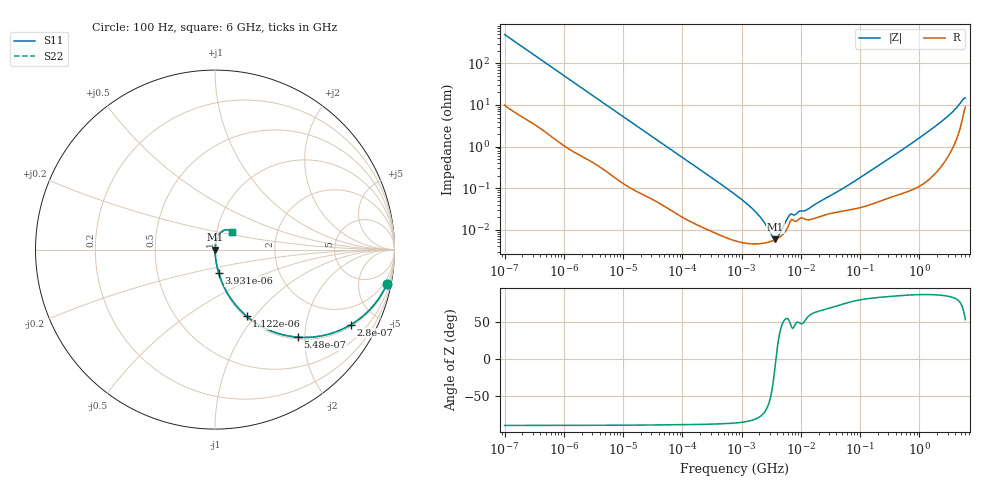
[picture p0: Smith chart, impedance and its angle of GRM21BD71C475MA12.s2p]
!Murata Part Number: GRM21BD71C475MA12
!These Parameters are Measured in Series Mode Connection
!Data Generated on Mar 30, 2021
!  o--ll--o
!Port1  Port2
!  o------o
!Operation Temp=25[degC], DC Bias Voltage=0[V]
!Freq. Start=100[Hz] Stop=6[GHz] 401[Steps]
# Hz S RI R 50
!Freq.(Hz) S11(Real) S11(Imag) S21(Real) S21(Imag) S12(Real) S12(Imag) S22(Real) S22(Imag)
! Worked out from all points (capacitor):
!   401 points, 100 Hz to 6 GHz, reference 50 ohm
!   read as one part in series: C = 3.21 uF near 109 Hz
!   lowest |Z| = 5.86 mohm at 3.712 MHz (marker M1)
!   series resonance near 3.803 MHz, so ESL is about 550 pH
!   S11 on the Smith chart (normalised r, x): 100 Hz: 1.20, -9.89; 280 Hz: 1.08, -3.57; 548 Hz: 1.04, -1.84; 1.122 kHz: 1.02, -0.91; 3.931 kHz: 1.01, -0.26; 6 GHz: 1.18, +0.23
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100  0.9572 -0.1928  0.0428 0.1928  0.0428 0.1928  0.9572 -0.1928
164  0.8975 -0.2935  0.1025 0.2935  0.1025 0.2935  0.8975 -0.2935
280  0.7568 -0.4184  0.2432 0.4184  0.2432 0.4184  0.7568 -0.4184
548  0.4605 -0.4878  0.5395 0.4878  0.5395 0.4878  0.4605 -0.4878
1122  0.1762 -0.3708  0.8238 0.3708  0.8238 0.3708  0.1762 -0.3708
2008  0.0661 -0.2373  0.9339 0.2373  0.9339 0.2373  0.0661 -0.2373
3931  0.0203 -0.129  0.9797 0.129  0.9797 0.129  0.0203 -0.129
10527  0.00373 -0.0498  0.9963 0.0498  0.9963 0.0498  0.00373 -0.0498
40335  0.000619 -0.0133  0.9994 0.0133  0.9994 0.0133  0.000619 -0.0133
774597  5.49e-05 -0.000709  0.9999 0.000709  0.9999 0.000709  5.49e-05 -0.000709
1658239  4.59e-05 -0.000282  1 0.000282  1 0.000282  4.59e-05 -0.000282
2837864  5.05e-05 -9.09e-05  0.9999 9.09e-05  0.9999 9.09e-05  5.05e-05 -9.09e-05
3712478  5.81e-05 -7.4e-06  0.9999 7.4e-06  0.9999 7.4e-06  5.81e-05 -7.4e-06
4643984  7.07e-05 6.37e-05  0.9999 -6.37e-05  0.9999 -6.37e-05  7.07e-05 6.37e-05
6644369  0.00016 0.000174  0.9998 -0.000174  0.9998 -0.000174  0.00016 0.000174
1.189169e7  0.000179 0.000228  0.9998 -0.000228  0.9998 -0.000228  0.000179 0.000228
1.555665e7  0.000181 0.000321  0.9998 -0.000321  0.9998 -0.000321  0.000181 0.000321
6.233367e7  0.000297 0.00113  0.9997 -0.00113  0.9997 -0.00113  0.000297 0.00113
3.124326e8  0.000614 0.00517  0.9994 -0.00517  0.9994 -0.00517  0.000614 0.00517
2.142435e9  0.00408 0.0355  0.9959 -0.0355  0.9959 -0.0355  0.00408 0.0355
4.193612e9  0.0205 0.0799  0.9795 -0.0799  0.9795 -0.0799  0.0205 0.0799
6e9  0.0926 0.0977  0.9074 -0.0977  0.9074 -0.0977  0.0926 0.0977
